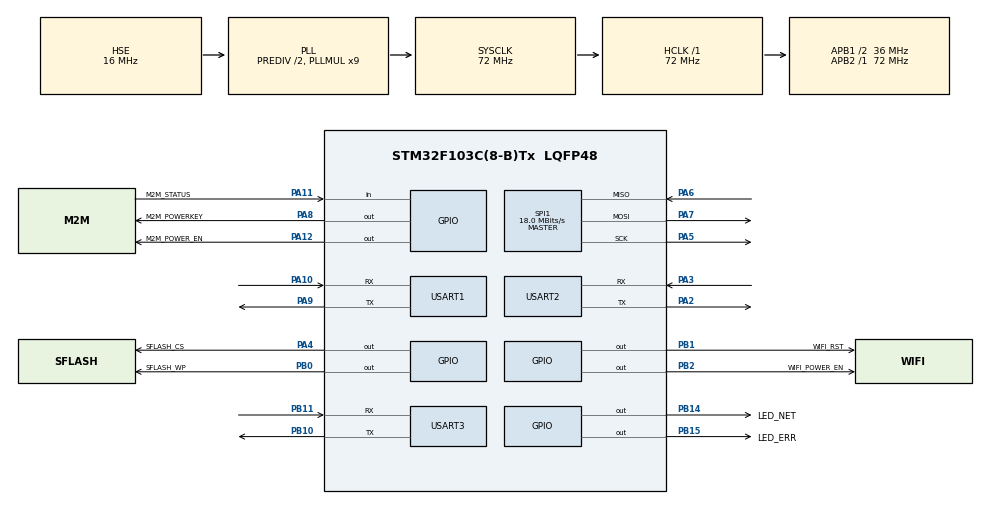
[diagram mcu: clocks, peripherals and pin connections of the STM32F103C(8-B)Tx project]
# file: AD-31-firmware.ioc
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Dma.Request0=USART1_TX
Dma.Request1=USART2_TX
Dma.Request2=USART3_TX
Dma.USART1_TX.0.Direction=DMA_MEMORY_TO_PERIPH
Dma.USART1_TX.0.Instance=DMA1_Channel4
Dma.USART1_TX.0.MemDataAlignment=DMA_MDATAALIGN_BYTE
Dma.USART1_TX.0.MemInc=DMA_MINC_ENABLE
Dma.USART1_TX.0.Mode=DMA_NORMAL
Dma.USART1_TX.0.PeriphDataAlignment=DMA_PDATAALIGN_BYTE
Dma.USART1_TX.0.PeriphInc=DMA_PINC_DISABLE
Dma.USART1_TX.0.Priority=DMA_PRIORITY_LOW
Dma.USART2_TX.1.Direction=DMA_MEMORY_TO_PERIPH
Dma.USART2_TX.1.Instance=DMA1_Channel7
Dma.USART2_TX.1.MemDataAlignment=DMA_MDATAALIGN_BYTE
Dma.USART2_TX.1.MemInc=DMA_MINC_ENABLE
Dma.USART2_TX.1.Mode=DMA_NORMAL
Dma.USART2_TX.1.PeriphDataAlignment=DMA_PDATAALIGN_BYTE
Dma.USART2_TX.1.PeriphInc=DMA_PINC_DISABLE
Dma.USART2_TX.1.Priority=DMA_PRIORITY_LOW
Dma.USART3_TX.2.Direction=DMA_MEMORY_TO_PERIPH
Dma.USART3_TX.2.Instance=DMA1_Channel2
Dma.USART3_TX.2.MemDataAlignment=DMA_MDATAALIGN_BYTE
Dma.USART3_TX.2.MemInc=DMA_MINC_ENABLE
Dma.USART3_TX.2.Mode=DMA_NORMAL
Dma.USART3_TX.2.PeriphDataAlignment=DMA_PDATAALIGN_BYTE
Dma.USART3_TX.2.PeriphInc=DMA_PINC_DISABLE
Dma.USART3_TX.2.Priority=DMA_PRIORITY_LOW
FREERTOS.Tasks01=defaultTask,0,128,StartDefaultTask,Default,NULL
FREERTOS.configCHECK_FOR_STACK_OVERFLOW=1
FREERTOS.configMINIMAL_STACK_SIZE=100
FREERTOS.configQUEUE_REGISTRY_SIZE=16
FREERTOS.configTOTAL_HEAP_SIZE=8192
FREERTOS.configUSE_IDLE_HOOK=1
FREERTOS.configUSE_MALLOC_FAILED_HOOK=1
FREERTOS.configUSE_TICK_HOOK=1
Mcu.Family=STM32F1
Mcu.Name=STM32F103C(8-B)Tx
Mcu.Package=LQFP48
NVIC.DMA1_Channel2_IRQn=true\:5\:0\:false\:false\:true\:true\:false
NVIC.DMA1_Channel4_IRQn=true\:5\:0\:false\:false\:true\:true\:false
NVIC.DMA1_Channel7_IRQn=true\:5\:0\:false\:false\:true\:true\:false
NVIC.PriorityGroup=NVIC_PRIORITYGROUP_4
NVIC.USART1_IRQn=true\:5\:0\:false\:false\:true\:true\:true
NVIC.USART2_IRQn=true\:5\:0\:false\:false\:true\:true\:true
NVIC.USART3_IRQn=true\:5\:0\:false\:false\:true\:true\:true
PA10.Mode=Asynchronous
PA10.Signal=USART1_RX
PA11.GPIO_Label=M2M_STATUS
PA11.Signal=GPIO_Input
PA12.GPIO_Label=M2M_POWER_EN
PA12.Signal=GPIO_Output
PA13.Mode=Serial_Wire
PA13.Signal=SYS_JTMS-SWDIO
PA14.Mode=Serial_Wire
PA14.Signal=SYS_JTCK-SWCLK
PA2.Mode=Asynchronous
PA2.Signal=USART2_TX
PA3.Mode=Asynchronous
PA3.Signal=USART2_RX
PA4.GPIO_Label=SFLASH_CS
PA4.Signal=GPIO_Output
PA5.Mode=Full_Duplex_Master
PA5.Signal=SPI1_SCK
PA6.Mode=Full_Duplex_Master
PA6.Signal=SPI1_MISO
PA7.Mode=Full_Duplex_Master
PA7.Signal=SPI1_MOSI
PA8.GPIO_Label=M2M_POWERKEY
PA8.GPIO_ModeDefaultOutputPP=GPIO_MODE_OUTPUT_OD
PA8.Signal=GPIO_Output
PA9.Mode=Asynchronous
PA9.Signal=USART1_TX
PB0.GPIO_Label=SFLASH_WP
PB0.Signal=GPIO_Output
PB1.GPIO_Label=WIFI_RST
PB1.Signal=GPIO_Output
PB10.Mode=Asynchronous
PB10.Signal=USART3_TX
PB11.Mode=Asynchronous
PB11.Signal=USART3_RX
PB14.GPIO_Label=LED_NET
PB14.Signal=GPIO_Output
PB15.GPIO_Label=LED_ERR
PB15.Signal=GPIO_Output
PB2.GPIO_Label=WIFI_POWER_EN
PB2.Signal=GPIO_Output
PD0-OSC_IN.Mode=HSE-External-Oscillator
PD0-OSC_IN.Signal=RCC_OSC_IN
PD1-OSC_OUT.Mode=HSE-External-Oscillator
PD1-OSC_OUT.Signal=RCC_OSC_OUT
ProjectManager.HeapSize=0x200
ProjectManager.StackSize=0x400
ProjectManager.TargetToolchain=EWARM V7
RCC.AHBFreq_Value=72000000
RCC.APB1CLKDivider=RCC_HCLK_DIV2
RCC.APB1Freq_Value=36000000
RCC.APB1TimFreq_Value=72000000
RCC.APB2Freq_Value=72000000
RCC.APB2TimFreq_Value=72000000
RCC.HCLKFreq_Value=72000000
RCC.HSEDivPLL=RCC_HSE_PREDIV_DIV2
RCC.HSE_VALUE=16000000
RCC.PLLMUL=RCC_PLL_MUL9
RCC.PLLSourceVirtual=RCC_PLLSOURCE_HSE
RCC.SYSCLKFreq_VALUE=72000000
RCC.SYSCLKSource=RCC_SYSCLKSOURCE_PLLCLK
RCC.USBFreq_Value=72000000
SPI1.BaudRatePrescaler=SPI_BAUDRATEPRESCALER_4
SPI1.CalculateBaudRate=18.0 MBits/s
SPI1.Direction=SPI_DIRECTION_2LINES
SPI1.Mode=SPI_MODE_MASTER
SPI1.VirtualType=VM_MASTER
USART1.VirtualMode=VM_ASYNC
USART2.VirtualMode=VM_ASYNC
USART3.VirtualMode=VM_ASYNC
VP_FREERTOS_VS_ENABLE.Mode=Enabled
VP_IWDG_VS_IWDG.Mode=IWDG_Activate
board=custom

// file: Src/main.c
/* USER CODE BEGIN Header */
/**
  ******************************************************************************
  * @file           : main.c
  * @brief          : Main program body
  ******************************************************************************
  * This notice applies to any and all portions of this file
  * that are not between comment pairs USER CODE BEGIN and
  * USER CODE END. Other portions of this file, whether
  * inserted by the user or by software development tools
  * are owned by their respective copyright owners.
  *
  * Copyright (c) 2019 STMicroelectronics International N.V.
  * All rights reserved.
  *
  * Redistribution and use in source and binary forms, with or without
  * modification, are permitted, provided that the following conditions are met:
  *
  * 1. Redistribution of source code must retain the above copyright notice,
  *    this list of conditions and the following disclaimer.
  * 2. Redistributions in binary form must reproduce the above copyright notice,
  *    this list of conditions and the following disclaimer in the documentation
  *    and/or other materials provided with the distribution.
  * 3. Neither the name of STMicroelectronics nor the names of other
  *    contributors to this software may be used to endorse or promote products
  *    derived from this software without specific written permission.
  * 4. This software, including modifications and/or derivative works of this
  *    software, must execute solely and exclusively on microcontroller or
  *    microprocessor devices manufactured by or for STMicroelectronics.
  * 5. Redistribution and use of this software other than as permitted under
  *    this license is void and will automatically terminate your rights under
  *    this license.
  *
  * THIS SOFTWARE IS PROVIDED BY STMICROELECTRONICS AND CONTRIBUTORS "AS IS"
  * AND ANY EXPRESS, IMPLIED OR STATUTORY WARRANTIES, INCLUDING, BUT NOT
  * LIMITED TO, THE IMPLIED WARRANTIES OF MERCHANTABILITY, FITNESS FOR A
  * PARTICULAR PURPOSE AND NON-INFRINGEMENT OF THIRD PARTY INTELLECTUAL PROPERTY
  * RIGHTS ARE DISCLAIMED TO THE FULLEST EXTENT PERMITTED BY LAW. IN NO EVENT
  * SHALL STMICROELECTRONICS OR CONTRIBUTORS BE LIABLE FOR ANY DIRECT, INDIRECT,
  * INCIDENTAL, SPECIAL, EXEMPLARY, OR CONSEQUENTIAL DAMAGES (INCLUDING, BUT NOT
  * LIMITED TO, PROCUREMENT OF SUBSTITUTE GOODS OR SERVICES; LOSS OF USE, DATA,
  * OR PROFITS; OR BUSINESS INTERRUPTION) HOWEVER CAUSED AND ON ANY THEORY OF
  * LIABILITY, WHETHER IN CONTRACT, STRICT LIABILITY, OR TORT (INCLUDING
  * NEGLIGENCE OR OTHERWISE) ARISING IN ANY WAY OUT OF THE USE OF THIS SOFTWARE,
  * EVEN IF ADVISED OF THE POSSIBILITY OF SUCH DAMAGE.
  *
  ******************************************************************************
  */
/* USER CODE END Header */

#include "main.h"
#include "cmsis_os.h"

/* USER CODE BEGIN Includes */
#include "user_comm.h"
#if AES_EN > 0
#include "aes_ex.h"
#endif
#include "datasave.h"

/* USER CODE END Includes */

IWDG_HandleTypeDef hiwdg;

SPI_HandleTypeDef hspi1;

UART_HandleTypeDef huart1;
UART_HandleTypeDef huart2;
UART_HandleTypeDef huart3;
DMA_HandleTypeDef hdma_usart1_tx;
DMA_HandleTypeDef hdma_usart2_tx;
DMA_HandleTypeDef hdma_usart3_tx;

osThreadId defaultTaskHandle;

void SystemClock_Config(void);
static void MX_GPIO_Init(void);
static void MX_DMA_Init(void);
static void MX_USART1_UART_Init(void);
static void MX_USART2_UART_Init(void);
static void MX_USART3_UART_Init(void);
static void MX_SPI1_Init(void);
static void MX_IWDG_Init(void);
void StartDefaultTask(void const * argument);

int main(void)
{

  /* MCU Configuration--------------------------------------------------------*/

  /* Reset of all peripherals, Initializes the Flash interface and the Systick. */
  HAL_Init();

  /* Configure the system clock */
  SystemClock_Config();

  /* Initialize all configured peripherals */
  MX_GPIO_Init();
  MX_DMA_Init();
  MX_USART1_UART_Init();
  MX_USART2_UART_Init();
  MX_USART3_UART_Init();
  MX_SPI1_Init();
  //MX_IWDG_Init();

  /* Create the thread(s) */
  /* definition and creation of defaultTask */
  osThreadDef(defaultTask, StartDefaultTask, osPriorityNormal, 0, 128);
  defaultTaskHandle = osThreadCreate(osThread(defaultTask), NULL);

  /* Start scheduler */
  osKernelStart();

  /* We should never get here as control is now taken by the scheduler */

  /* Infinite loop */
  while (1)
  {

  }
}

void SystemClock_Config(void)
{
  RCC_OscInitTypeDef RCC_OscInitStruct = {0};
  RCC_ClkInitTypeDef RCC_ClkInitStruct = {0};

  /**Initializes the CPU, AHB and APB busses clocks
  */
  RCC_OscInitStruct.OscillatorType = RCC_OSCILLATORTYPE_LSI|RCC_OSCILLATORTYPE_HSE;
  RCC_OscInitStruct.HSEState = RCC_HSE_ON;
  RCC_OscInitStruct.HSEPredivValue = RCC_HSE_PREDIV_DIV2;
  RCC_OscInitStruct.HSIState = RCC_HSI_ON;
  RCC_OscInitStruct.LSIState = RCC_LSI_ON;
  RCC_OscInitStruct.PLL.PLLState = RCC_PLL_ON;
  RCC_OscInitStruct.PLL.PLLSource = RCC_PLLSOURCE_HSE;
  RCC_OscInitStruct.PLL.PLLMUL = RCC_PLL_MUL9;
  if (HAL_RCC_OscConfig(&RCC_OscInitStruct) != HAL_OK)
  {
    Error_Handler();
  }
  /**Initializes the CPU, AHB and APB busses clocks
  */
  RCC_ClkInitStruct.ClockType = RCC_CLOCKTYPE_HCLK|RCC_CLOCKTYPE_SYSCLK
                              |RCC_CLOCKTYPE_PCLK1|RCC_CLOCKTYPE_PCLK2;
  RCC_ClkInitStruct.SYSCLKSource = RCC_SYSCLKSOURCE_PLLCLK;
  RCC_ClkInitStruct.AHBCLKDivider = RCC_SYSCLK_DIV1;
  RCC_ClkInitStruct.APB1CLKDivider = RCC_HCLK_DIV2;
  RCC_ClkInitStruct.APB2CLKDivider = RCC_HCLK_DIV1;

  if (HAL_RCC_ClockConfig(&RCC_ClkInitStruct, FLASH_LATENCY_2) != HAL_OK)
  {
    Error_Handler();
  }
}

static void MX_IWDG_Init(void)
{

  hiwdg.Instance = IWDG;
  hiwdg.Init.Prescaler = IWDG_PRESCALER_4;
  hiwdg.Init.Reload = 4095;
  if (HAL_IWDG_Init(&hiwdg) != HAL_OK)
  {
    Error_Handler();
  }

}

static void MX_SPI1_Init(void)
{

  /* SPI1 parameter configuration*/
  hspi1.Instance = SPI1;
  hspi1.Init.Mode = SPI_MODE_MASTER;
  hspi1.Init.Direction = SPI_DIRECTION_2LINES;
  hspi1.Init.DataSize = SPI_DATASIZE_8BIT;
  hspi1.Init.CLKPolarity = SPI_POLARITY_LOW;
  hspi1.Init.CLKPhase = SPI_PHASE_1EDGE;
  hspi1.Init.NSS = SPI_NSS_SOFT;
  hspi1.Init.BaudRatePrescaler = SPI_BAUDRATEPRESCALER_4;
  hspi1.Init.FirstBit = SPI_FIRSTBIT_MSB;
  hspi1.Init.TIMode = SPI_TIMODE_DISABLE;
  hspi1.Init.CRCCalculation = SPI_CRCCALCULATION_DISABLE;
  hspi1.Init.CRCPolynomial = 10;
  if (HAL_SPI_Init(&hspi1) != HAL_OK)
  {
    Error_Handler();
  }

}

static void MX_USART1_UART_Init(void)
{

  huart1.Instance = USART1;
  huart1.Init.BaudRate = 115200;
  huart1.Init.WordLength = UART_WORDLENGTH_8B;
  huart1.Init.StopBits = UART_STOPBITS_1;
  huart1.Init.Parity = UART_PARITY_NONE;
  huart1.Init.Mode = UART_MODE_TX_RX;
  huart1.Init.HwFlowCtl = UART_HWCONTROL_NONE;
  huart1.Init.OverSampling = UART_OVERSAMPLING_16;
  if (HAL_UART_Init(&huart1) != HAL_OK)
  {
    Error_Handler();
  }

}

static void MX_USART2_UART_Init(void)
{

  huart2.Instance = USART2;
  huart2.Init.BaudRate = 19200;
  huart2.Init.WordLength = UART_WORDLENGTH_8B;
  huart2.Init.StopBits = UART_STOPBITS_1;
  huart2.Init.Parity = UART_PARITY_NONE;
  huart2.Init.Mode = UART_MODE_TX_RX;
  huart2.Init.HwFlowCtl = UART_HWCONTROL_NONE;
  huart2.Init.OverSampling = UART_OVERSAMPLING_16;
  if (HAL_UART_Init(&huart2) != HAL_OK)
  {
    Error_Handler();
  }

}

static void MX_USART3_UART_Init(void)
{

  huart3.Instance = USART3;
  huart3.Init.BaudRate = 115200;
  huart3.Init.WordLength = UART_WORDLENGTH_8B;
  huart3.Init.StopBits = UART_STOPBITS_1;
  huart3.Init.Parity = UART_PARITY_NONE;
  huart3.Init.Mode = UART_MODE_TX_RX;
  huart3.Init.HwFlowCtl = UART_HWCONTROL_NONE;
  huart3.Init.OverSampling = UART_OVERSAMPLING_16;
  if (HAL_UART_Init(&huart3) != HAL_OK)
  {
    Error_Handler();
  }

}

static void MX_DMA_Init(void)
{
  /* DMA controller clock enable */
  __HAL_RCC_DMA1_CLK_ENABLE();

  /* DMA interrupt init */
  /* DMA1_Channel2_IRQn interrupt configuration */
  HAL_NVIC_SetPriority(DMA1_Channel2_IRQn, 5, 0);
  HAL_NVIC_EnableIRQ(DMA1_Channel2_IRQn);
  /* DMA1_Channel4_IRQn interrupt configuration */
  HAL_NVIC_SetPriority(DMA1_Channel4_IRQn, 5, 0);
  HAL_NVIC_EnableIRQ(DMA1_Channel4_IRQn);
  /* DMA1_Channel7_IRQn interrupt configuration */
  HAL_NVIC_SetPriority(DMA1_Channel7_IRQn, 5, 0);
  HAL_NVIC_EnableIRQ(DMA1_Channel7_IRQn);

}

static void MX_GPIO_Init(void)
{
  GPIO_InitTypeDef GPIO_InitStruct = {0};

  /* GPIO Ports Clock Enable */
  __HAL_RCC_GPIOD_CLK_ENABLE();
  __HAL_RCC_GPIOA_CLK_ENABLE();
  __HAL_RCC_GPIOB_CLK_ENABLE();

  /*Configure GPIO pin Output Level */
  HAL_GPIO_WritePin(GPIOA, SFLASH_CS_Pin|M2M_POWERKEY_Pin|M2M_POWER_EN_Pin, GPIO_PIN_SET);

  /*Configure GPIO pin Output Level */
  HAL_GPIO_WritePin(GPIOB, SFLASH_WP_Pin|WIFI_RST_Pin|WIFI_POWER_EN_Pin|LED_NET_Pin
                          |LED_ERR_Pin, GPIO_PIN_SET);

  /*Configure GPIO pins : SFLASH_CS_Pin M2M_POWER_EN_Pin */
  GPIO_InitStruct.Pin = SFLASH_CS_Pin|M2M_POWER_EN_Pin|M2M_POWERKEY_Pin;
  GPIO_InitStruct.Mode = GPIO_MODE_OUTPUT_PP;
  GPIO_InitStruct.Pull = GPIO_NOPULL;
  GPIO_InitStruct.Speed = GPIO_SPEED_FREQ_LOW;
  HAL_GPIO_Init(GPIOA, &GPIO_InitStruct);

  /*Configure GPIO pins : SFLASH_WP_Pin WIFI_RST_Pin WIFI_POWER_EN_Pin LED_NET_Pin
                           LED_ERR_Pin */
  GPIO_InitStruct.Pin = SFLASH_WP_Pin|WIFI_RST_Pin|WIFI_POWER_EN_Pin|LED_NET_Pin
                          |LED_ERR_Pin;
  GPIO_InitStruct.Mode = GPIO_MODE_OUTPUT_PP;
  GPIO_InitStruct.Pull = GPIO_NOPULL;
  GPIO_InitStruct.Speed = GPIO_SPEED_FREQ_LOW;
  HAL_GPIO_Init(GPIOB, &GPIO_InitStruct);

  // /*Configure GPIO pin : M2M_POWERKEY_Pin */
  // GPIO_InitStruct.Pin = M2M_POWERKEY_Pin;
  // GPIO_InitStruct.Mode = GPIO_MODE_OUTPUT_OD;
  // GPIO_InitStruct.Pull = GPIO_NOPULL;
  // GPIO_InitStruct.Speed = GPIO_SPEED_FREQ_LOW;
  // HAL_GPIO_Init(M2M_POWERKEY_GPIO_Port, &GPIO_InitStruct);

  /*Configure GPIO pin : M2M_STATUS_Pin */
  GPIO_InitStruct.Pin = M2M_STATUS_Pin;
  GPIO_InitStruct.Mode = GPIO_MODE_INPUT;
  GPIO_InitStruct.Pull = GPIO_NOPULL;
  HAL_GPIO_Init(M2M_STATUS_GPIO_Port, &GPIO_InitStruct);

}

void StartDefaultTask(void const * argument)
{

  /* USER CODE BEGIN 5 */
  /* Infinite loop */
    TWDT_DEF(startTask, 30000);
    TWDT_ADD(startTask);
    TWDT_CLEAR(startTask);

#if UART1_RECEVIE_BUFFER_SIZE > 0
    UART_PortConfig(1, &huart1, UART1_RECEVIE_BUFFER_SIZE);
#endif
#if UART2_RECEVIE_BUFFER_SIZE > 0
    UART_PortConfig(2, &huart2, UART2_RECEVIE_BUFFER_SIZE);
#endif
#if UART3_RECEVIE_BUFFER_SIZE > 0
    UART_PortConfig(3, &huart3, UART3_RECEVIE_BUFFER_SIZE);
#endif
#if UART4_RECEVIE_BUFFER_SIZE > 0
    UART_PortConfig(4, &huart4, UART4_RECEVIE_BUFFER_SIZE);
#endif

    /*初始化核心驱*/
    CMD_Init();
    System_Init();
    SFlash_Init(&hspi1);
#if RTC_EN > 0
    user_rtc_init();
#endif
    /*初始化系统功*/
    WorkParam_Init();
    //StartLog_Recoder();
    HTTP_Init();
    DFU_Init();
    DataSave_Init();
    Process_Init();
    /*初始化外设驱*/
#if NET_WIFI_EN > 0
    WIFI_Init();
#endif
#if NET_M2M_EN > 0
    M2M_Init();
#endif
#if NET_LAN_EN > 0
    w5500_Init(&hspi1);
#endif
    /*初始化业*/
#if PROCESS_EN > 0
    Process_Init();
#endif
#if MQTT_EN > 0
    MQTT_Conn_Init();
#endif
#if AES_EN > 0
    aes_init_ex();
#endif
    DBG_LOG("System Start!");
    LED_ALL_OFF();
    HAL_GPIO_WritePin(GPIOA, SFLASH_CS_Pin|M2M_POWERKEY_Pin|M2M_POWER_EN_Pin, GPIO_PIN_SET);
    //UART_SetRemapping(4, 1);
    /* Infinite loop */
    for (;;) {
        // DBG_LOG("hello,world!");
        // CommunicationToControlPoll(0,40);
        osDelay(2);
        CMD_UART_Read_Poll();
        UART_Refresh_Poll();
        LED_FlashPoll();
        KEY_Poll();
        DFU_Poll();
        // HAL_GPIO_TogglePin(GPIOB,GPIO_PIN_2);
        // osDelay(10);
        TWDT_CLEAR(startTask);

    }

  /* USER CODE END 5 */
}

void Error_Handler(void)
{
}

/************************ (C) COPYRIGHT STMicroelectronics *****END OF FILE****/

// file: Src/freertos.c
/* USER CODE BEGIN Header */
/**
  ******************************************************************************
  * File Name          : freertos.c
  * Description        : Code for freertos applications
  ******************************************************************************
  * This notice applies to any and all portions of this file
  * that are not between comment pairs USER CODE BEGIN and
  * USER CODE END. Other portions of this file, whether
  * inserted by the user or by software development tools
  * are owned by their respective copyright owners.
  *
  * Copyright (c) 2019 STMicroelectronics International N.V.
  * All rights reserved.
  *
  * Redistribution and use in source and binary forms, with or without
  * modification, are permitted, provided that the following conditions are met:
  *
  * 1. Redistribution of source code must retain the above copyright notice,
  *    this list of conditions and the following disclaimer.
  * 2. Redistributions in binary form must reproduce the above copyright notice,
  *    this list of conditions and the following disclaimer in the documentation
  *    and/or other materials provided with the distribution.
  * 3. Neither the name of STMicroelectronics nor the names of other
  *    contributors to this software may be used to endorse or promote products
  *    derived from this software without specific written permission.
  * 4. This software, including modifications and/or derivative works of this
  *    software, must execute solely and exclusively on microcontroller or
  *    microprocessor devices manufactured by or for STMicroelectronics.
  * 5. Redistribution and use of this software other than as permitted under
  *    this license is void and will automatically terminate your rights under
  *    this license.
  *
  * THIS SOFTWARE IS PROVIDED BY STMICROELECTRONICS AND CONTRIBUTORS "AS IS"
  * AND ANY EXPRESS, IMPLIED OR STATUTORY WARRANTIES, INCLUDING, BUT NOT
  * LIMITED TO, THE IMPLIED WARRANTIES OF MERCHANTABILITY, FITNESS FOR A
  * PARTICULAR PURPOSE AND NON-INFRINGEMENT OF THIRD PARTY INTELLECTUAL PROPERTY
  * RIGHTS ARE DISCLAIMED TO THE FULLEST EXTENT PERMITTED BY LAW. IN NO EVENT
  * SHALL STMICROELECTRONICS OR CONTRIBUTORS BE LIABLE FOR ANY DIRECT, INDIRECT,
  * INCIDENTAL, SPECIAL, EXEMPLARY, OR CONSEQUENTIAL DAMAGES (INCLUDING, BUT NOT
  * LIMITED TO, PROCUREMENT OF SUBSTITUTE GOODS OR SERVICES; LOSS OF USE, DATA,
  * OR PROFITS; OR BUSINESS INTERRUPTION) HOWEVER CAUSED AND ON ANY THEORY OF
  * LIABILITY, WHETHER IN CONTRACT, STRICT LIABILITY, OR TORT (INCLUDING
  * NEGLIGENCE OR OTHERWISE) ARISING IN ANY WAY OUT OF THE USE OF THIS SOFTWARE,
  * EVEN IF ADVISED OF THE POSSIBILITY OF SUCH DAMAGE.
  *
  ******************************************************************************
  */
/* USER CODE END Header */

#include "FreeRTOS.h"
#include "task.h"
#include "main.h"

/* USER CODE BEGIN Includes */
#include "user_comm.h"
#include "prjlib.h"
/* USER CODE END Includes */

/* Hook prototypes */
void vApplicationIdleHook(void);
void vApplicationTickHook(void);
void vApplicationStackOverflowHook(xTaskHandle xTask, signed char *pcTaskName);
void vApplicationMallocFailedHook(void);

/* USER CODE BEGIN 2 */
__weak void vApplicationIdleHook( void )
{
   /* vApplicationIdleHook() will only be called if configUSE_IDLE_HOOK is set
   to 1 in FreeRTOSConfig.h. It will be called on each iteration of the idle
   task. It is essential that code added to this hook function never attempts
   to block in any way (for example, call xQueueReceive() with a block time
   specified, or call vTaskDelay()). If the application makes use of the
   vTaskDelete() API function (as this demo application does) then it is also
   important that vApplicationIdleHook() is permitted to return to its calling
   function, because it is the responsibility of the idle task to clean up
   memory allocated by the kernel to any task that has since been deleted. */
   char *name = NULL;

   name = TaskWDG_IsUpper();
   if (name == NULL) {
      //HAL_IWDG_Refresh(&hiwdg);
   } else {
      THROW(name);
      THROW(" task watchdog overflow, system will reset.\r\n");
      HAL_Delay(1000);
   }
}
/* USER CODE END 2 */

/* USER CODE BEGIN 3 */
__weak void vApplicationTickHook( void )
{
   /* This function will be called by each tick interrupt if
   configUSE_TICK_HOOK is set to 1 in FreeRTOSConfig.h. User code can be
   added here, but the tick hook is called from an interrupt context, so
   code must not attempt to block, and only the interrupt safe FreeRTOS API
   functions can be used (those that end in FromISR()). */
}
/* USER CODE END 3 */

/* USER CODE BEGIN 4 */
__weak void vApplicationStackOverflowHook(xTaskHandle xTask, signed char *pcTaskName)
{
   /* Run time stack overflow checking is performed if
   configCHECK_FOR_STACK_OVERFLOW is defined to 1 or 2. This hook function is
   called if a stack overflow is detected. */
}
/* USER CODE END 4 */

/* USER CODE BEGIN 5 */
__weak void vApplicationMallocFailedHook(void)
{
   /* vApplicationMallocFailedHook() will only be called if
   configUSE_MALLOC_FAILED_HOOK is set to 1 in FreeRTOSConfig.h. It is a hook
   function that will get called if a call to pvPortMalloc() fails.
   pvPortMalloc() is called internally by the kernel whenever a task, queue,
   timer or semaphore is created. It is also called by various parts of the
   demo application. If heap_1.c or heap_2.c are used, then the size of the
   heap available to pvPortMalloc() is defined by configTOTAL_HEAP_SIZE in
   FreeRTOSConfig.h, and the xPortGetFreeHeapSize() API function can be used
   to query the size of free heap space that remains (although it does not
   provide information on how the remaining heap might be fragmented). */
}
/* USER CODE END 5 */

/************************ (C) COPYRIGHT STMicroelectronics *****END OF FILE****/
